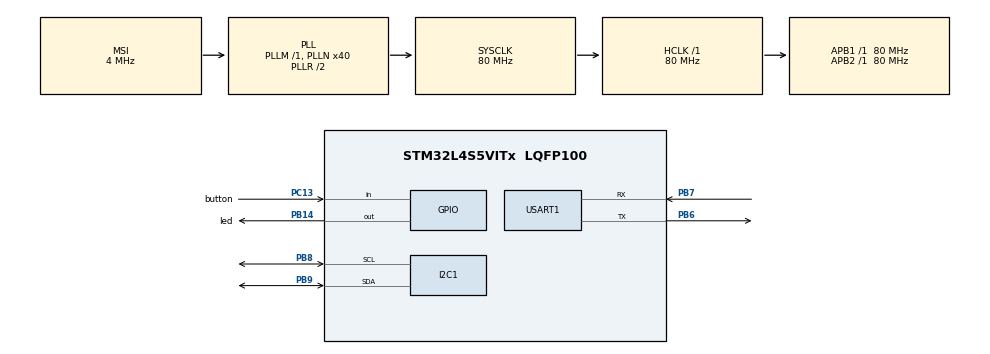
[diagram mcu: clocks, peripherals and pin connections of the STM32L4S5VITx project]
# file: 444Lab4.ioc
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FREERTOS.Mutexes01=msgMutex,Dynamic,NULL;sensorSelectorMutex,Dynamic,NULL
FREERTOS.Tasks01=defaultTask,-1,128,buttonPressTask,Default,NULL,Dynamic,NULL,NULL;myTask02,0,128,transmitDataTask,Default,NULL,Dynamic,NULL,NULL;myTask03,0,128,readSensorDataTask,Default,NULL,Dynamic,NULL,NULL
FREERTOS.configTOTAL_HEAP_SIZE=3000
I2C1.Timing=0x10909CEC
Mcu.Family=STM32L4
Mcu.Name=STM32L4S5VITx
Mcu.Package=LQFP100
NVIC.PriorityGroup=NVIC_PRIORITYGROUP_4
NVIC.TIM6_DAC_IRQn=true\:0\:0\:false\:false\:true\:false\:false\:true
NVIC.TimeBase=TIM6_DAC_IRQn
NVIC.TimeBaseIP=TIM6
PB14.GPIO_Label=led
PB14.Signal=GPIO_Output
PB6.Mode=Asynchronous
PB6.Signal=USART1_TX
PB7.Mode=Asynchronous
PB7.Signal=USART1_RX
PB8.Mode=I2C
PB8.Signal=I2C1_SCL
PB9.Mode=I2C
PB9.Signal=I2C1_SDA
PC13.GPIO_Label=button
PC13.Signal=GPIO_Input
ProjectManager.HeapSize=0x200
ProjectManager.StackSize=0x400
ProjectManager.TargetToolchain=STM32CubeIDE
RCC.AHBFreq_Value=80000000
RCC.APB1Freq_Value=80000000
RCC.APB1TimFreq_Value=80000000
RCC.APB2Freq_Value=80000000
RCC.APB2TimFreq_Value=80000000
RCC.CortexFreq_Value=80000000
RCC.HCLKFreq_Value=80000000
RCC.HSE_VALUE=8000000
RCC.HSI48_VALUE=48000000
RCC.HSI_VALUE=16000000
RCC.LSE_VALUE=32768
RCC.MSI_VALUE=4000000
RCC.PLLN=40
RCC.SYSCLKFreq_VALUE=80000000
RCC.SYSCLKSource=RCC_SYSCLKSOURCE_PLLCLK
RCC.VCOOutputFreq_Value=160000000
USART1.VirtualMode-Asynchronous=VM_ASYNC
VP_FREERTOS_VS_CMSIS_V1.Mode=CMSIS_V1
VP_SYS_VS_tim6.Mode=TIM6
board=custom

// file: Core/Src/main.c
/* USER CODE BEGIN Header */
/**
  ******************************************************************************
  * @file           : main.c
  * @brief          : Main program body
  ******************************************************************************
  * @attention
  *
  * <h2><center>&copy; Copyright (c) 2021 STMicroelectronics.
  * All rights reserved.</center></h2>
  *
  * This software component is licensed by ST under BSD 3-Clause license,
  * the "License"; You may not use this file except in compliance with the
  * License. You may obtain a copy of the License at:
  *                        opensource.org/licenses/BSD-3-Clause
  *
  ******************************************************************************
  */
/* USER CODE END Header */
#include "main.h"
#include "cmsis_os.h"

/* USER CODE BEGIN Includes */
#include "stm32l4s5i_iot01_accelero.h"
#include "stm32l4s5i_iot01_gyro.h"
#include "stm32l4s5i_iot01_hsensor.h"
#include "stm32l4s5i_iot01_magneto.h"
#include "stm32l4s5i_iot01_nfctag.h"
#include "stm32l4s5i_iot01_psensor.h"
#include "stm32l4s5i_iot01_qspi.h"
#include "stm32l4s5i_iot01_tsensor.h"
#include "stm32l4s5i_iot01.h"

/* USER CODE END Includes */

I2C_HandleTypeDef hi2c1;

UART_HandleTypeDef huart1;

osThreadId defaultTaskHandle;
osThreadId myTask02Handle;
osThreadId myTask03Handle;
osMutexId msgMutexHandle;
osMutexId sensorSelectorMutexHandle;

void SystemClock_Config(void);
static void MX_GPIO_Init(void);
static void MX_I2C1_Init(void);
static void MX_USART1_UART_Init(void);
void buttonPressTask(void const * argument);
void transmitDataTask(void const * argument);
void readSensorDataTask(void const * argument);

/* USER CODE BEGIN 0 */
//#######################################################################################################################################

//Global Sensor Variables + Buffer
int sensorSelector = 0; // 0->Humidity,   1->Pressure,   2->Magnetometer,   3->Accelerometer

uint16_t sensorReading; //Not shared, exclusive to reading data only
int16_t sensorReadingXYZ[3];

char msg[100];

//#######################################################################################################################################
/* USER CODE END 0 */

int main(void)
{

  /* MCU Configuration--------------------------------------------------------*/

  /* Reset of all peripherals, Initializes the Flash interface and the Systick. */
  HAL_Init();

  /* USER CODE BEGIN Init */
  //#######################################################################################################################################

  BSP_HSENSOR_Init(); // Initialize humidity sensor
  BSP_MAGNETO_Init(); // Initialize magnetometer
  BSP_PSENSOR_Init(); // Initialize pressure
  BSP_ACCELERO_Init(); // Initialize accelerometer

  //#######################################################################################################################################
  /* USER CODE END Init */

  /* Configure the system clock */
  SystemClock_Config();

  /* Initialize all configured peripherals */
  MX_GPIO_Init();
  MX_I2C1_Init();
  MX_USART1_UART_Init();

  /* Create the mutex(es) */
  /* definition and creation of msgMutex */
  osMutexDef(msgMutex);
  msgMutexHandle = osMutexCreate(osMutex(msgMutex));

  /* definition and creation of sensorSelectorMutex */
  osMutexDef(sensorSelectorMutex);
  sensorSelectorMutexHandle = osMutexCreate(osMutex(sensorSelectorMutex));

  /* Create the thread(s) */
  /* definition and creation of defaultTask */
  osThreadDef(defaultTask, buttonPressTask, osPriorityBelowNormal, 0, 128);
  defaultTaskHandle = osThreadCreate(osThread(defaultTask), NULL);

  /* definition and creation of myTask02 */
  osThreadDef(myTask02, transmitDataTask, osPriorityNormal, 0, 128);
  myTask02Handle = osThreadCreate(osThread(myTask02), NULL);

  /* definition and creation of myTask03 */
  osThreadDef(myTask03, readSensorDataTask, osPriorityNormal, 0, 128);
  myTask03Handle = osThreadCreate(osThread(myTask03), NULL);

  /* Start scheduler */
  osKernelStart();

  /* We should never get here as control is now taken by the scheduler */
  /* Infinite loop */
  /* USER CODE BEGIN WHILE */
  //#######################################################################################################################################
  while (1)
  {

	  if(HAL_GPIO_ReadPin(button_GPIO_Port,button_Pin) == 0){ //If button is pressed
		  sensorSelector = (sensorSelector + 1)%4; //Change sensor
		  HAL_GPIO_TogglePin(led_GPIO_Port, led_Pin); //Flip LED
	  }

	  if(sensorSelector == 0){
		  sensorReading = (uint16_t)(BSP_HSENSOR_ReadHumidity());
		  sprintf(msg, "\rHumidity: %d                                                             ", sensorReading);
	  }

	  if(sensorSelector == 1){
		  sensorReading = (uint16_t)(BSP_PSENSOR_ReadPressure());
		  sprintf(msg, "\rPressure: %d                                                             ", sensorReading);
	  }

	  if(sensorSelector == 2){
		  BSP_MAGNETO_GetXYZ(&sensorReadingXYZ);
		  sprintf(msg, "\rMagnetometer X: %d, Magnetometer Y: %d, Magnetometer Z: %d               ", sensorReadingXYZ[0], sensorReadingXYZ[1], sensorReadingXYZ[2]);
	  }

	  if(sensorSelector == 3){
		  BSP_ACCELERO_AccGetXYZ(&sensorReadingXYZ);
		  sprintf(msg, "\rAccelerometer X: %d, Accelerometer Y: %d, Accelerometer Z: %d\0          ", sensorReadingXYZ[0], sensorReadingXYZ[1], sensorReadingXYZ[2]);
	  }

	  while(HAL_GPIO_ReadPin(button_GPIO_Port,button_Pin) == 0); //Wait until unpress
	  HAL_UART_Transmit(&huart1, &msg, sizeof(msg), HAL_MAX_DELAY);
	  HAL_Delay(100);

    /* USER CODE END WHILE */

    /* USER CODE BEGIN 3 */
  }
  //#######################################################################################################################################
  /* USER CODE END 3 */
}

void SystemClock_Config(void)
{
  RCC_OscInitTypeDef RCC_OscInitStruct = {0};
  RCC_ClkInitTypeDef RCC_ClkInitStruct = {0};
  RCC_PeriphCLKInitTypeDef PeriphClkInit = {0};

  /** Configure the main internal regulator output voltage
  */
  if (HAL_PWREx_ControlVoltageScaling(PWR_REGULATOR_VOLTAGE_SCALE1) != HAL_OK)
  {
    Error_Handler();
  }
  /** Initializes the RCC Oscillators according to the specified parameters
  * in the RCC_OscInitTypeDef structure.
  */
  RCC_OscInitStruct.OscillatorType = RCC_OSCILLATORTYPE_MSI;
  RCC_OscInitStruct.MSIState = RCC_MSI_ON;
  RCC_OscInitStruct.MSICalibrationValue = 0;
  RCC_OscInitStruct.MSIClockRange = RCC_MSIRANGE_6;
  RCC_OscInitStruct.PLL.PLLState = RCC_PLL_ON;
  RCC_OscInitStruct.PLL.PLLSource = RCC_PLLSOURCE_MSI;
  RCC_OscInitStruct.PLL.PLLM = 1;
  RCC_OscInitStruct.PLL.PLLN = 40;
  RCC_OscInitStruct.PLL.PLLP = RCC_PLLP_DIV2;
  RCC_OscInitStruct.PLL.PLLQ = RCC_PLLQ_DIV2;
  RCC_OscInitStruct.PLL.PLLR = RCC_PLLR_DIV2;
  if (HAL_RCC_OscConfig(&RCC_OscInitStruct) != HAL_OK)
  {
    Error_Handler();
  }
  /** Initializes the CPU, AHB and APB buses clocks
  */
  RCC_ClkInitStruct.ClockType = RCC_CLOCKTYPE_HCLK|RCC_CLOCKTYPE_SYSCLK
                              |RCC_CLOCKTYPE_PCLK1|RCC_CLOCKTYPE_PCLK2;
  RCC_ClkInitStruct.SYSCLKSource = RCC_SYSCLKSOURCE_PLLCLK;
  RCC_ClkInitStruct.AHBCLKDivider = RCC_SYSCLK_DIV1;
  RCC_ClkInitStruct.APB1CLKDivider = RCC_HCLK_DIV1;
  RCC_ClkInitStruct.APB2CLKDivider = RCC_HCLK_DIV1;

  if (HAL_RCC_ClockConfig(&RCC_ClkInitStruct, FLASH_LATENCY_3) != HAL_OK)
  {
    Error_Handler();
  }
  PeriphClkInit.PeriphClockSelection = RCC_PERIPHCLK_USART1|RCC_PERIPHCLK_I2C1;
  PeriphClkInit.Usart1ClockSelection = RCC_USART1CLKSOURCE_PCLK2;
  PeriphClkInit.I2c1ClockSelection = RCC_I2C1CLKSOURCE_PCLK1;
  if (HAL_RCCEx_PeriphCLKConfig(&PeriphClkInit) != HAL_OK)
  {
    Error_Handler();
  }
}

static void MX_I2C1_Init(void)
{

  hi2c1.Instance = I2C1;
  hi2c1.Init.Timing = 0x10909CEC;
  hi2c1.Init.OwnAddress1 = 0;
  hi2c1.Init.AddressingMode = I2C_ADDRESSINGMODE_7BIT;
  hi2c1.Init.DualAddressMode = I2C_DUALADDRESS_DISABLE;
  hi2c1.Init.OwnAddress2 = 0;
  hi2c1.Init.OwnAddress2Masks = I2C_OA2_NOMASK;
  hi2c1.Init.GeneralCallMode = I2C_GENERALCALL_DISABLE;
  hi2c1.Init.NoStretchMode = I2C_NOSTRETCH_DISABLE;
  if (HAL_I2C_Init(&hi2c1) != HAL_OK)
  {
    Error_Handler();
  }
  /** Configure Analogue filter
  */
  if (HAL_I2CEx_ConfigAnalogFilter(&hi2c1, I2C_ANALOGFILTER_ENABLE) != HAL_OK)
  {
    Error_Handler();
  }
  /** Configure Digital filter
  */
  if (HAL_I2CEx_ConfigDigitalFilter(&hi2c1, 0) != HAL_OK)
  {
    Error_Handler();
  }

}

static void MX_USART1_UART_Init(void)
{

  huart1.Instance = USART1;
  huart1.Init.BaudRate = 115200;
  huart1.Init.WordLength = UART_WORDLENGTH_8B;
  huart1.Init.StopBits = UART_STOPBITS_1;
  huart1.Init.Parity = UART_PARITY_NONE;
  huart1.Init.Mode = UART_MODE_TX_RX;
  huart1.Init.HwFlowCtl = UART_HWCONTROL_NONE;
  huart1.Init.OverSampling = UART_OVERSAMPLING_16;
  huart1.Init.OneBitSampling = UART_ONE_BIT_SAMPLE_DISABLE;
  huart1.Init.ClockPrescaler = UART_PRESCALER_DIV1;
  huart1.AdvancedInit.AdvFeatureInit = UART_ADVFEATURE_NO_INIT;
  if (HAL_UART_Init(&huart1) != HAL_OK)
  {
    Error_Handler();
  }
  if (HAL_UARTEx_SetTxFifoThreshold(&huart1, UART_TXFIFO_THRESHOLD_1_8) != HAL_OK)
  {
    Error_Handler();
  }
  if (HAL_UARTEx_SetRxFifoThreshold(&huart1, UART_RXFIFO_THRESHOLD_1_8) != HAL_OK)
  {
    Error_Handler();
  }
  if (HAL_UARTEx_DisableFifoMode(&huart1) != HAL_OK)
  {
    Error_Handler();
  }

}

static void MX_GPIO_Init(void)
{
  GPIO_InitTypeDef GPIO_InitStruct = {0};

  /* GPIO Ports Clock Enable */
  __HAL_RCC_GPIOC_CLK_ENABLE();
  __HAL_RCC_GPIOB_CLK_ENABLE();

  /*Configure GPIO pin Output Level */
  HAL_GPIO_WritePin(led_GPIO_Port, led_Pin, GPIO_PIN_RESET);

  /*Configure GPIO pin : button_Pin */
  GPIO_InitStruct.Pin = button_Pin;
  GPIO_InitStruct.Mode = GPIO_MODE_INPUT;
  GPIO_InitStruct.Pull = GPIO_NOPULL;
  HAL_GPIO_Init(button_GPIO_Port, &GPIO_InitStruct);

  /*Configure GPIO pin : led_Pin */
  GPIO_InitStruct.Pin = led_Pin;
  GPIO_InitStruct.Mode = GPIO_MODE_OUTPUT_PP;
  GPIO_InitStruct.Pull = GPIO_NOPULL;
  GPIO_InitStruct.Speed = GPIO_SPEED_FREQ_LOW;
  HAL_GPIO_Init(led_GPIO_Port, &GPIO_InitStruct);

}

void buttonPressTask(void const * argument)
{
  /* USER CODE BEGIN 5 */
//#######################################################################################################################################

  /* Infinite loop */
  for(;;)
  {
    osDelay(1);

    //When button has been pressed, update LED and pick next sensor
    if (HAL_GPIO_ReadPin(button_GPIO_Port,button_Pin) == 0) {

    	//Flip LED
    	HAL_GPIO_TogglePin(led_GPIO_Port, led_Pin);

    	//Change the shared resource: sensorSelector
    	osMutexWait(sensorSelectorMutexHandle, osWaitForever);
    	osMutexWait(msgMutexHandle, osWaitForever);
    	sensorSelector = (sensorSelector + 1)%4;
    	osMutexRelease(msgMutexHandle);
    	osMutexRelease(sensorSelectorMutexHandle);

    }
    while(HAL_GPIO_ReadPin(button_GPIO_Port,button_Pin) == 0); //Wait until unpress

  }
  /* USER CODE END 5 */
}

void transmitDataTask(void const * argument)
{
  /* USER CODE BEGIN transmitDataTask */
  /* Infinite loop */
  for(;;)
  {
    osDelay(100); //Put thread to sleep for 100ms for 10 Hz sampling time

    //Make sure msg is free to be used
    osMutexWait(msgMutexHandle, osWaitForever);

    //Transmit
    HAL_UART_Transmit(&huart1, &msg, sizeof(msg), HAL_MAX_DELAY);

    //Release msg
    osMutexRelease(msgMutexHandle);
  }
  /* USER CODE END transmitDataTask */
}

void readSensorDataTask(void const * argument)
{
  /* USER CODE BEGIN readSensorDataTask */
  /* Infinite loop */
  for(;;)
  {
    osDelay(100); //Put thread to sleep for 100ms for 10 Hz sampling time

	//Make sure sensorSelector and msg are free for being used
	osMutexWait(sensorSelectorMutexHandle, osWaitForever);
	osMutexWait(msgMutexHandle, osWaitForever);

	switch (sensorSelector) {
		case 0: // 0->Humidity

			sensorReading = (uint16_t)(BSP_HSENSOR_ReadHumidity());
			sprintf(msg, "\rHumidity: %d                                                             ", sensorReading);
			break;

		case 1: // 1->Pressure

			sensorReading = (uint16_t)(BSP_PSENSOR_ReadPressure());
			sprintf(msg, "\rPressure: %d                                                             ", sensorReading);
			break;

		case 2: // 2->Magnetometer

			BSP_MAGNETO_GetXYZ(&sensorReadingXYZ);
			sprintf(msg, "\rMagnetometer X: %d, Magnetometer Y: %d, Magnetometer Z: %d               ", sensorReadingXYZ[0], sensorReadingXYZ[1], sensorReadingXYZ[2]);
			break;

		case 3: // 3->Accelerometer

			BSP_ACCELERO_AccGetXYZ(&sensorReadingXYZ);
			sprintf(msg, "\rAccelerometer X: %d, Accelerometer Y: %d, Accelerometer Z: %d\0          ", sensorReadingXYZ[0], sensorReadingXYZ[1], sensorReadingXYZ[2]);
			break;

	}

	//Release sensorSelector and msg
	osMutexRelease(msgMutexHandle);
	osMutexRelease(sensorSelectorMutexHandle);

  }
  //#######################################################################################################################################

  /* USER CODE END readSensorDataTask */
}

 /**
  * @brief  Period elapsed callback in non blocking mode
  * @note   This function is called  when TIM6 interrupt took place, inside
  * HAL_TIM_IRQHandler(). It makes a direct call to HAL_IncTick() to increment
  * a global variable "uwTick" used as application time base.
  * @param  htim : TIM handle
  * @retval None
  */
void HAL_TIM_PeriodElapsedCallback(TIM_HandleTypeDef *htim)
{
  if (htim->Instance == TIM6) {
    HAL_IncTick();
  }
}

void Error_Handler(void)
{
  __disable_irq();
  while (1)
  {
  }
}

/************************ (C) COPYRIGHT STMicroelectronics *****END OF FILE****/
